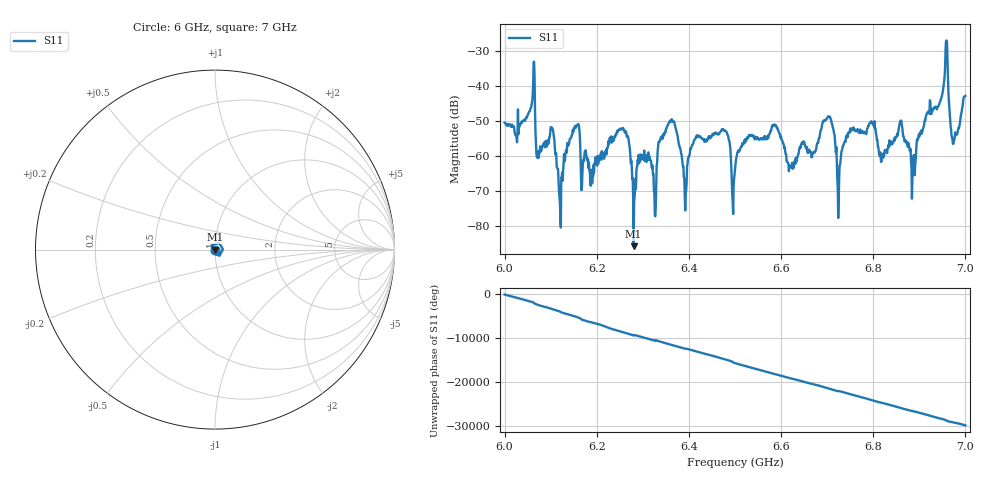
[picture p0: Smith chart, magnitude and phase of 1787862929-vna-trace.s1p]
! Created with skrf 1.10.0 (http://scikit-rf.org).
# Hz S RI R 50.0
!freq ReS11 ImS11
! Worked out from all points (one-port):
!   1001 points, 6 GHz to 7 GHz, reference 50 ohm
!   lowest |S11| = -85.7 dB at 6.28 GHz (marker M1), VSWR 1.00, Z = 50 - j0.00515 ohm
!   |S11| at or under -10 dB: start of sweep to end of sweep
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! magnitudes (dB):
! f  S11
! 6 GHz  -50.6
! 6.061 GHz  -42.6
! 6.072 GHz  -59.2
! 6.103 GHz  -52.0
! 6.125 GHz  -64.7
! 6.155 GHz  -51.8
! 6.189 GHz  -63.9
! 6.25 GHz  -52.5
! 6.267 GHz  -54.3
! 6.28 GHz  -85.7
! 6.302 GHz  -60.0
! 6.326 GHz  -76.9
! 6.339 GHz  -54.7
! 6.375 GHz  -54.1
! 6.391 GHz  -71.6
! 6.415 GHz  -54.7
! 6.474 GHz  -52.4
! 6.5 GHz  -63.8
! 6.585 GHz  -51.4
! 6.625 GHz  -63.7
! 6.703 GHz  -48.8
! 6.726 GHz  -66.6
! 6.75 GHz  -52.2
! 6.875 GHz  -57.5
! 6.888 GHz  -59.8
! 6.957 GHz  -29.7
! 6.974 GHz  -56.6
! 7 GHz  -42.9
